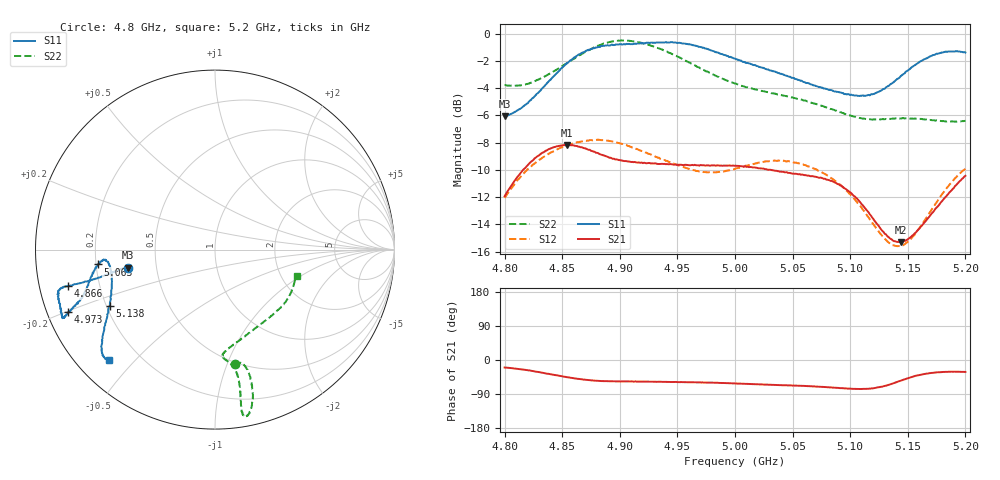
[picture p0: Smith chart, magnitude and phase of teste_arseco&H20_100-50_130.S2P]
! Network Analyzer HP8722D
! Hewlett-Packard
! Data name: Linha & Wilkinson
! Saver's name: Rodrigo Anjos
! Comments: Teste da utilização de aquisição
! continua pelo VNA HP8722D
! Time and date: 6/5/2025 13:39
!  Frequency  S11  S21  S12  S22
# HZ  S  MA R 50
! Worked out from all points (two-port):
!   401 points, 4.8 GHz to 5.2 GHz, reference 50 ohm
!   highest |S21| = -8.17 dB at 4.854 GHz (marker M1); lowest = -15.3 dB at 5.144 GHz (marker M2)
!   |S21| within 3 dB of the highest: 4.806 GHz to 5.092 GHz (286.5 MHz wide, 5.79 % of centre); 5.191297 GHz to end of sweep
!   lowest |S11| = -6.1 dB at 4.8 GHz (marker M3), VSWR 2.98, Z = 16.9 - j4.54 ohm
!   |S11| at or under -10 dB: nowhere
!   |S22| runs from -6.5 to -0.5 dB; largest |S21 - S12| = 0.62
!   S11 on the Smith chart (normalised r, x): 4.8 GHz: 0.34, -0.09; 4.866 GHz: 0.09, -0.12; 4.973 GHz: 0.06, -0.20; 5.063 GHz: 0.21, -0.06; 5.138 GHz: 0.21, -0.24; 5.2 GHz: 0.09, -0.42
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4.8e9  0.4976 -168.3  0.2531 -19.8  0.2495 -141.2  0.6482 -80.3
4.828e9  0.6017 -167.2  0.3539 -30.9  0.3386 -145.2  0.6762 -75.4
4.854e9  0.7782 -166.0  0.3905 -45.3  0.3889 -150.1  0.7798 -74.9
4.866e9  0.8452 -166.1  0.383 -50.5  0.4013 -152.1  0.8369 -75.3
4.867e9  0.8504 -166.0  0.3829 -51.1  0.4023 -152.3  0.8435 -75.5
4.883e9  0.8956 -165.4  0.3607 -55.3  0.4074 -155.0  0.9091 -77.2
4.9e9  0.9148 -162.8  0.3435 -56.6  0.396 -156.7  0.9417 -79.2
4.934e9  0.9289 -156.7  0.3324 -57.6  0.3506 -155.8  0.883 -80.5
4.953e9  0.924 -155.7  0.3305 -58.2  0.3257 -152.2  0.8129 -79.9
4.973e9  0.8877 -157.0  0.3288 -59.5  0.3104 -146.0  0.7357 -79.8
5e9  0.8098 -159.1  0.3273 -62.0  0.3193 -137.4  0.6565 -81.3
5.036e9  0.7222 -165.9  0.3138 -66.2  0.3411 -134.6  0.6003 -85.8
5.063e9  0.6595 -172.8  0.3015 -68.9  0.3263 -136.6  0.5639 -83.6
5.067e9  0.6497 -173.3  0.3001 -69.3  0.3226 -137.0  0.5566 -82.6
5.082e9  0.6218 -174.7  0.2898 -72.1  0.2985 -138.5  0.5323 -77.2
5.1e9  0.596 -172.3  0.2616 -75.7  0.2573 -138.9  0.5017 -67.1
5.115e9  0.5951 -166.1  0.2229 -76.0  0.2141 -135.9  0.4865 -56.4
5.134e9  0.646 -154.2  0.1783 -65.1  0.1704 -120.5  0.4867 -43.2
5.138e9  0.6663 -151.9  0.1732 -60.9  0.1671 -115.4  0.4875 -40.8
5.144e9  0.6998 -149.0  0.1717 -54.4  0.1661 -107.4  0.4884 -37.4
5.174e9  0.8395 -138.7  0.2278 -33.0  0.2372 -80.5  0.4798 -23.8
5.2e9  0.853 -133.8  0.3007 -31.5  0.3198 -77.1  0.4789 -17.6
